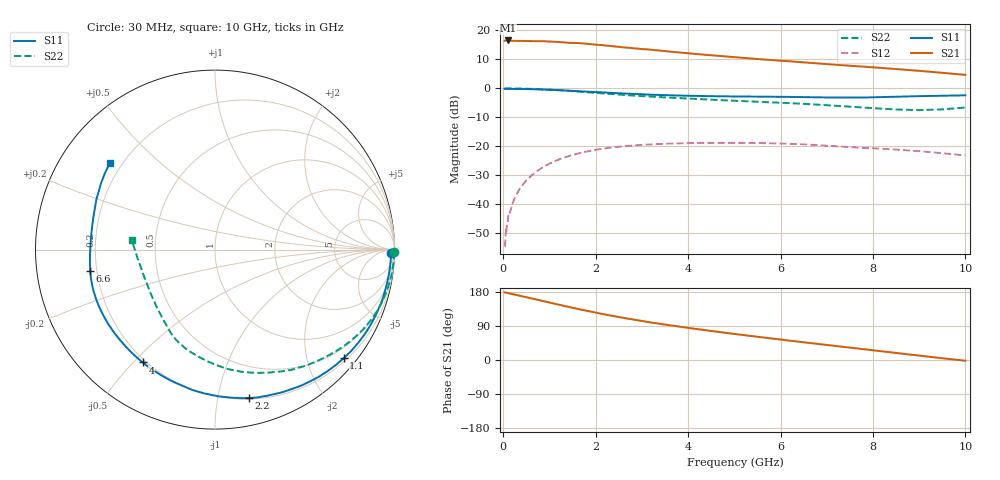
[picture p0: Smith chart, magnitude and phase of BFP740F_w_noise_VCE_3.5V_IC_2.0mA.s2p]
! Infineon Technologies  Discrete & RF Semiconductors
! BFP740F
! VCE =  3.5 V,  IC =  2.0 mA
! Common Emitter S-Parameters:  Oct 2012
# GHz  S  MA  R  50
!  f  S11  S21  S12  S22
! GHz  MAG  ANG  MAG  ANG  MAG  ANG  MAG  ANG
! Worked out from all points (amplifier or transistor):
!   99 points, 30 MHz to 10 GHz, reference 50 ohm
!   highest |S21| = 16.5 dB at 100 MHz (marker M1)
!   |S21| within 3 dB of that: start of sweep to 3.03 GHz
!   unconditionally stable (mu >= 1): 9.41 GHz to end of sweep
!   at 350 MHz: K = 0.03, MSG = 25.6 dB, |S12| = -34.8 dB
!   at 3.5 GHz: K = 0.22, MSG = 16.0 dB, |S12| = -19.1 dB
!   at 10 GHz: K = 1.10, MAG = 12.0 dB, |S12| = -23.1 dB
!   lowest NFmin = 0.37 dB at 450 MHz
!   S11 on the Smith chart (normalised r, x): 30 MHz: 52, -52; 1.1 GHz: 0.27, -2.71; 2.2 GHz: 0.21, -1.23; 4 GHz: 0.19, -0.53; 6.6 GHz: 0.17, -0.08; 10 GHz: 0.15, +0.35
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0.03  0.9811 -1.1  6.625 178.4  0.0019 94.8  0.9988 -0.8
0.04  0.9811 -1.5  6.618 178.2  0.0019 83.8  0.9985 -1.0
0.06  0.9801 -2.2  6.659 177.9  0.0037 86.0  0.999 -1.5
0.07  0.9807 -2.6  6.66 177.6  0.0033 78.6  0.9985 -1.7
0.08  0.9812 -3.0  6.684 177.4  0.0045 84.6  0.9984 -2.0
0.1  0.9803 -3.7  6.705 176.7  0.0051 85.9  0.9984 -2.5
0.25  0.9778 -9.2  6.607 172.6  0.0131 84.0  0.9953 -6.2
0.45  0.9734 -16.5  6.561 167.0  0.0232 78.8  0.9889 -11.2
0.9  0.9522 -33.1  6.502 154.5  0.0456 67.6  0.9601 -22.4
1.1  0.9383 -40.2  6.377 148.9  0.0548 62.5  0.941 -27.4
1.7  0.8867 -61.1  5.971 132.6  0.0779 48.1  0.8714 -41.6
2.2  0.8483 -77.1  5.502 120.2  0.0923 37.0  0.8146 -53.2
2.7  0.8105 -91.2  5.027 109.1  0.1019 27.4  0.7627 -63.3
3.4  0.7692 -109.1  4.476 95.3  0.11 16.0  0.7066 -75.4
4  0.7462 -122.6  4.034 84.8  0.1139 7.6  0.6689 -83.9
5.1  0.7252 -145.0  3.405 67.3  0.1149 -6.0  0.6071 -97.9
5.9  0.7161 -158.9  3.046 55.5  0.1123 -15.0  0.57 -107.6
6.6  0.705 -170.4  2.773 45.3  0.1072 -22.8  0.5359 -115.9
6.7  0.7024 -172.1  2.732 44.0  0.1062 -23.8  0.5298 -117.0
7.5  0.6938 174.4  2.462 32.7  0.0969 -30.1  0.4836 -126.8
8.5  0.7179 156.9  2.156 18.6  0.0879 -37.0  0.4324 -146.6
10  0.759 140.4  1.709 -2.0  0.0696 -46.2  0.4673 173.3
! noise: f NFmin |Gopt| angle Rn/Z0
0.45  0.37  0.55  9  0.3
0.9  0.44  0.56  17  0.26
1.5  0.55  0.55  27  0.24
1.9  0.63  0.52  37  0.24
2.4  0.73  0.49  45  0.24
3.5  0.95  0.44  70  0.23
5.5  1.33  0.35  115  0.23
10  2.08  0.52  -136  0.1
